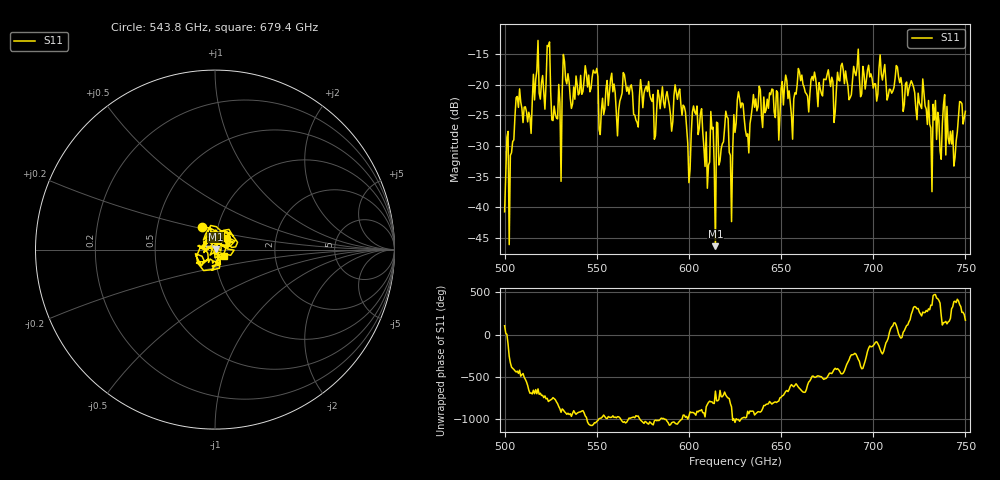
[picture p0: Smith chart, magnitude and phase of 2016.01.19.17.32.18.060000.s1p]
!Created with skrf (http://scikit-rf.org).
# GHz S RI R 50.0
!freq ReS11 ImS11
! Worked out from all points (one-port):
!   401 points, 500 GHz to 750 GHz, reference 50 ohm
!   lowest |S11| = -46.4 dB at 614.4 GHz (marker M1), VSWR 1.01, Z = 50.3 + j0.386 ohm
!   |S11| at or under -10 dB: start of sweep to end of sweep
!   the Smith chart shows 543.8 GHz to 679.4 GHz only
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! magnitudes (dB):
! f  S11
! 500 GHz  -40.8
! 507.5 GHz  -23.7
! 513.1 GHz  -24.5
! 516.9 GHz  -19.1
! 520.6 GHz  -18.5
! 523.8 GHz  -13.7
! 526.9 GHz  -23.5
! 531.2 GHz  -21.0
! 533.1 GHz  -19.1
! 549.4 GHz  -18.0
! 552.5 GHz  -24.2
! 558.1 GHz  -18.1
! 562.5 GHz  -22.7
! 593.8 GHz  -22.4
! 600 GHz  -36.0
! 603.1 GHz  -24.4
! 614.4 GHz  -46.4
! 620 GHz  -24.3
! 623.1 GHz  -42.4
! 625 GHz  -27.8
! 651.9 GHz  -20.2
! 656.2 GHz  -28.9
! 660 GHz  -17.9
! 687.5 GHz  -22.1
! 690.6 GHz  -18.5
! 718.8 GHz  -21.8
! 743.8 GHz  -33.3
! 750 GHz  -24.3
